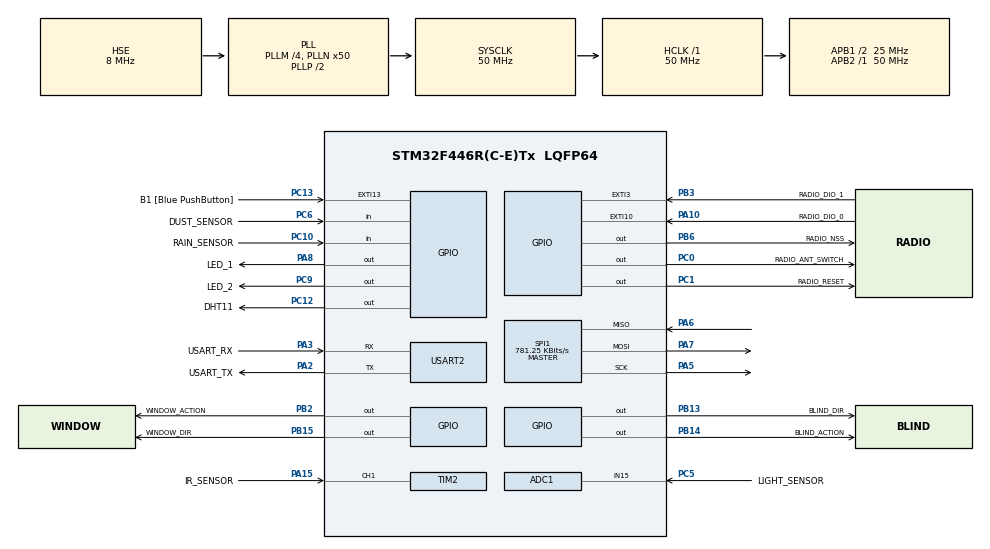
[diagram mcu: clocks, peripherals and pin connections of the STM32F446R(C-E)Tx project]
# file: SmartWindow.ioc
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ADC1.Channel-1\#ChannelRegularConversion=ADC_CHANNEL_15
ADC1.NbrOfConversionFlag=1
ADC1.Rank-1\#ChannelRegularConversion=1
ADC1.SamplingTime-1\#ChannelRegularConversion=ADC_SAMPLETIME_3CYCLES
ADC1.master=1
Mcu.Family=STM32F4
Mcu.Name=STM32F446R(C-E)Tx
Mcu.Package=LQFP64
NVIC.EXTI15_10_IRQn=true\:0\:0\:false\:false\:true\:true\:true\:true
NVIC.EXTI3_IRQn=true\:0\:0\:false\:false\:true\:true\:true\:true
NVIC.PriorityGroup=NVIC_PRIORITYGROUP_0
NVIC.RTC_Alarm_IRQn=true\:0\:0\:false\:false\:true\:true\:true\:true
NVIC.TIM2_IRQn=true\:0\:0\:false\:false\:true\:true\:true\:true
NVIC.TIM3_IRQn=true\:0\:0\:false\:false\:true\:true\:true\:true
NVIC.TIM4_IRQn=true\:0\:0\:false\:false\:true\:true\:true\:true
PA10.GPIO_Label=RADIO_DIO_0
PA10.Signal=GPXTI10
PA13.GPIO_Label=TMS
PA13.Mode=Serial_Wire
PA13.Signal=SYS_JTMS-SWDIO
PA14.GPIO_Label=TCK
PA14.Mode=Serial_Wire
PA14.Signal=SYS_JTCK-SWCLK
PA15.GPIO_Label=IR_SENSOR
PA15.Signal=S_TIM2_CH1_ETR
PA2.GPIO_Label=USART_TX
PA2.Mode=Asynchronous
PA2.Signal=USART2_TX
PA3.GPIO_Label=USART_RX
PA3.Mode=Asynchronous
PA3.Signal=USART2_RX
PA5.Mode=Full_Duplex_Master
PA5.Signal=SPI1_SCK
PA6.Mode=Full_Duplex_Master
PA6.Signal=SPI1_MISO
PA7.Mode=Full_Duplex_Master
PA7.Signal=SPI1_MOSI
PA8.GPIO_Label=LED_1
PA8.Signal=GPIO_Output
PB13.GPIO_Label=BLIND_DIR
PB13.PinState=GPIO_PIN_RESET
PB13.Signal=GPIO_Output
PB14.GPIO_Label=BLIND_ACTION
PB14.PinState=GPIO_PIN_SET
PB14.Signal=GPIO_Output
PB15.GPIO_Label=WINDOW_DIR
PB15.PinState=GPIO_PIN_SET
PB15.Signal=GPIO_Output
PB2.GPIO_Label=WINDOW_ACTION
PB2.PinState=GPIO_PIN_SET
PB2.Signal=GPIO_Output
PB3.GPIO_Label=RADIO_DIO_1 
PB3.Signal=GPXTI3
PB6.GPIO_Label=RADIO_NSS
PB6.Signal=GPIO_Output
PC0.GPIO_Label=RADIO_ANT_SWITCH
PC0.GPIO_PuPd=GPIO_PULLUP
PC0.Signal=GPIO_Output
PC1.GPIO_Label=RADIO_RESET 
PC1.PinState=GPIO_PIN_SET
PC1.Signal=GPIO_Output
PC10.GPIO_Label=RAIN_SENSOR
PC10.Signal=GPIO_Input
PC12.GPIO_Label=DHT11
PC12.Signal=GPIO_Output
PC13.GPIO_Label=B1 [Blue PushButton]
PC13.GPIO_ModeDefaultEXTI=GPIO_MODE_IT_FALLING
PC13.Signal=GPXTI13
PC14-OSC32_IN.Signal=RCC_OSC32_IN
PC15-OSC32_OUT.Signal=RCC_OSC32_OUT
PC5.GPIO_Label=LIGHT_SENSOR
PC5.Signal=ADCx_IN15
PC6.GPIO_Label=DUST_SENSOR
PC6.Signal=GPIO_Input
PC9.GPIO_Label=LED_2 
PC9.Signal=GPIO_Output
PH0-OSC_IN.Mode=HSE-External-Oscillator
PH0-OSC_IN.Signal=RCC_OSC_IN
PH1-OSC_OUT.Mode=HSE-External-Oscillator
PH1-OSC_OUT.Signal=RCC_OSC_OUT
ProjectManager.HeapSize=0x200
ProjectManager.StackSize=0x400
ProjectManager.TargetToolchain=STM32CubeIDE
RCC.48MHZClocksFreq_Value=84000000
RCC.AHBFreq_Value=50000000
RCC.APB1CLKDivider=RCC_HCLK_DIV2
RCC.APB1Freq_Value=25000000
RCC.APB1TimFreq_Value=50000000
RCC.APB2Freq_Value=50000000
RCC.APB2TimFreq_Value=50000000
RCC.CortexFreq_Value=50000000
RCC.FLatency-AdvancedSettings=FLASH_LATENCY_1
RCC.HCLKFreq_Value=50000000
RCC.HSE_VALUE=8000000
RCC.HSI_VALUE=16000000
RCC.PLLM=4
RCC.PLLN=50
RCC.PLLSourceVirtual=RCC_PLLSOURCE_HSE
RCC.SYSCLKFreq_VALUE=50000000
RCC.SYSCLKSource=RCC_SYSCLKSOURCE_PLLCLK
RCC.USBFreq_Value=50000000
RCC.VCOOutputFreq_Value=100000000
RTC.Alarm=RTC_ALARM_A
RTC.Format=RTC_FORMAT_BIN
SH.ADCx_IN15.0=ADC1_IN15,IN15
SH.S_TIM2_CH1_ETR.0=TIM2_CH1,Input_Capture1_from_TI1
SPI1.BaudRatePrescaler=SPI_BAUDRATEPRESCALER_64
SPI1.CalculateBaudRate=781.25 KBits/s
SPI1.Direction=SPI_DIRECTION_2LINES
SPI1.Mode=SPI_MODE_MASTER
SPI1.VirtualType=VM_MASTER
TIM2.Channel-Input_Capture1_from_TI1=TIM_CHANNEL_1
TIM2.ICPolarity_CH1=TIM_INPUTCHANNELPOLARITY_BOTHEDGE
TIM2.Prescaler=49
TIM3.Period=999
TIM3.Prescaler=49
TIM4.Prescaler=49
TIM6.Prescaler=49
USART2.VirtualMode=VM_ASYNC
VP_RTC_VS_RTC_Activate.Mode=RTC_Enabled
VP_RTC_VS_RTC_Alarm_A_Intern.Mode=Alarm A
VP_RTC_VS_RTC_Calendar.Mode=RTC_Calendar
VP_TIM3_VS_ClockSourceINT.Mode=Internal
VP_TIM4_VS_ClockSourceINT.Mode=Internal
VP_TIM6_VS_ClockSourceINT.Mode=Enable_Timer
board=NUCLEO-F446RE

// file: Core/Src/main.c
/* USER CODE BEGIN Header */
/**
  ******************************************************************************
  * @file           : main.c
  * @brief          : Main program body (Simplified for Always-On)
  *
  ******************************************************************************
  */
/* USER CODE END Header */
#include "main.h"

/* USER CODE BEGIN Includes */
#include <stdio.h>
#include "lora_app.h"
/* USER CODE END Includes */

/* USER CODE BEGIN PD */

// 1. 창문 모터
#define WINDOW_ACTION_PIN       GPIO_PIN_2   // PB2
#define WINDOW_ACTION_GPIO_Port GPIOB

#define WINDOW_DIR_PIN          GPIO_PIN_15  // PB15
#define WINDOW_DIR_GPIO_Port    GPIOB

// 2. 블라인드 모터
#define BLIND_ACTION_PIN        GPIO_PIN_14  // PB14
#define BLIND_ACTION_GPIO_Port  GPIOB

#define BLIND_DIR_PIN           GPIO_PIN_13  // PB13
#define BLIND_DIR_GPIO_Port     GPIOB

// 3. 센서 및 기타 핀
#define RAIN_SENSOR_PIN         GPIO_PIN_10 // PC10
#define RAIN_SENSOR_GPIO_Port   GPIOC

#define DUST_SENSOR_PIN         GPIO_PIN_6  // PC6
#define DUST_SENSOR_GPIO_Port   GPIOC

#define DHT11_PIN               GPIO_PIN_12  // PC12
#define DHT11_PORT              GPIOC

// 3. 로직 설정
#define TEMP_HOT_TO_OPEN    28
#define TEMP_COLD_TO_CLOSE  22
#define HUMI_TO_OPEN        40
#define HUMI_TO_CLOSE       25
#define LIGHT_THRESHOLD     4000
#define DUST_BAD_LEVEL      40
#define LIGHT_BRIGHT_TH 4000
#define LIGHT_DARK_TH   1000

#define SENSOR_CHECK_INTERVAL 3000
/* USER CODE END PD */

ADC_HandleTypeDef hadc1;

RTC_HandleTypeDef hrtc;

SPI_HandleTypeDef hspi1;

TIM_HandleTypeDef htim2;
TIM_HandleTypeDef htim3;
TIM_HandleTypeDef htim4;
TIM_HandleTypeDef htim6;

UART_HandleTypeDef huart2;

/* USER CODE BEGIN PV */
int auto_mode = 0;

int win_dir = 1;
int blind_dir = 0;

// --- IR 리모컨 변수 ---
typedef enum {
  IR_STATE_IDLE, IR_STATE_AGC_SPACE, IR_STATE_DATA, IR_STATE_REPEAT_PULSE
} IR_DecoderState_t;

static volatile IR_DecoderState_t ir_state = IR_STATE_IDLE;
static volatile uint32_t last_capture = 0;
static volatile uint8_t  ir_bit_count = 0;
static volatile uint32_t ir_data_raw = 0;
volatile uint8_t  ir_command = 0;
volatile uint32_t ir_full_data = 0;

// [NEW] 미세먼지 센서 변수 (TIM4 사용)
volatile uint32_t dust_start_time = 0;  // 펄스 시작 시간
volatile uint32_t dust_pulse_width = 0; // 펄스 길이 (Low 구간)
volatile uint8_t  dust_ready_flag = 0;  // 계산 완료 깃발

// --- 센서 데이터 변수 ---
int Val_Temp = 0;
int Val_Humi = 0;
int Val_Dust = 0;
int light_value = 0;
/* USER CODE END PV */

void SystemClock_Config(void);
static void MX_GPIO_Init(void);
static void MX_USART2_UART_Init(void);
static void MX_RTC_Init(void);
static void MX_TIM2_Init(void);
static void MX_TIM6_Init(void);
static void MX_SPI1_Init(void);
static void MX_TIM3_Init(void);
static void MX_TIM4_Init(void);
static void MX_ADC1_Init(void);
/* USER CODE BEGIN PFP */
void Window_Action_Open(void);
void Window_Action_Close(void);
void Window_Action_Stop(void);

void Handle_Periodic_Sensor_Task(void);

void delay_us(uint16_t us);
void Set_Pin_Output(GPIO_TypeDef *GPIOx, uint16_t GPIO_Pin);
void Set_Pin_Input(GPIO_TypeDef *GPIOx, uint16_t GPIO_Pin);
void DHT11_Start(void);
int8_t DHT11_Check_Response(void);
uint8_t DHT11_Read(void);
void Blind_Action_Up(void);
void Blind_Action_Down(void);
void Blind_Action_Stop(void);
/* USER CODE END PFP */

/* USER CODE BEGIN 0 */

int _write(int file, char *ptr, int len)
{
  HAL_UART_Transmit(&huart2, (uint8_t *)ptr, len, 10);
  return len;
}

/* USER CODE END 0 */

int main(void)
{

  /* MCU Configuration--------------------------------------------------------*/

  /* Reset of all peripherals, Initializes the Flash interface and the Systick. */
  HAL_Init();

  /* Configure the system clock */
  SystemClock_Config();

  /* Initialize all configured peripherals */
  MX_GPIO_Init();
  MX_USART2_UART_Init();
  MX_RTC_Init();
  MX_TIM2_Init();
  MX_TIM6_Init();
  MX_SPI1_Init();
  MX_TIM3_Init();
  MX_TIM4_Init();
  MX_ADC1_Init();
  /* USER CODE BEGIN 2 */
  printf("Smart Window.\r\n");

  Window_Action_Stop();

  HAL_TIM_IC_Start_IT(&htim2, TIM_CHANNEL_1); // IR
  HAL_TIM_Base_Start(&htim6);                 // Delay
  HAL_TIM_Base_Start_IT(&htim3);              // LoRa
  HAL_TIM_Base_Start(&htim4);                 // 미세먼지 타이머 켜기!

  // 3. [추가] LoRa 초기화
  LoRa_Init_User();

  uint32_t last_sensor_tick = 0;
  uint32_t current_tick;
  /* USER CODE END 2 */

  /* Infinite loop */
  /* USER CODE BEGIN WHILE */
  while (1)
  {
	  current_tick = HAL_GetTick();
	  // 1. 주기적 센서 체크 (5초마다) -> 여기에 모든 기능이 다 들어감!
	  if (current_tick - last_sensor_tick >= SENSOR_CHECK_INTERVAL)
	  {
		  last_sensor_tick = current_tick;

	  // 이 함수 하나로 측정, 계산, 전송, 제어
	      Handle_Periodic_Sensor_Task();
	  }

    /* 2. IR 리모컨 처리 */
    if (ir_command != 0)
    {
        printf("[IR] Command: 0x%02X\r\n", ir_command);
        switch (ir_command)
        {
            case 0x0C: //1
            	if(auto_mode == 1)
            	{
            		printf("Ignored: Currently Auto Mode\r\n");
            		break;
            	}
            	Window_Action_Open();
                printf("Open Window\r\n");
                break;
            case 0x18: //2
            	if(auto_mode == 1)
            	{
            		printf("Ignored: Currently Auto Mode\r\n");
            		break;
            	}
            	Window_Action_Stop();
                printf("Stop Window\r\n");
                break;
            case 0x5E: //3
            	if(auto_mode == 1)
            	{
            		printf("Ignored: Currently Auto Mode\r\n");
            		break;
            	}
            	Window_Action_Close();
            	printf("Close Window\r\n");
            	break;
            case 0x08: //4
            	if(auto_mode == 1)
            	{
            		printf("Ignored: Currently Auto Mode\r\n");
            		break;
            	}
            	Blind_Action_Up();
            	printf("Up Blind\r\n");
            	break;
            case 0x1C: //5
            	if(auto_mode == 1)
            	{
            		printf("Ignored: Currently Auto Mode\r\n");
            		break;
            	}
            	Blind_Action_Stop();
            	printf("Stop Blind\r\n");
            	break;
            case 0x5A: //6
            	if(auto_mode == 1)
            	{
            		printf("Ignored: Currently Auto Mode\r\n");
            		break;
            	}
            	Blind_Action_Down();
            	printf("Down Blind\r\n");
            	break;
            case 0x42: //7
            	auto_mode = 0;
            	printf(">> Auto Mode OFF\r\n");
            	break;
            case 0x52: //8
            	auto_mode = 1;
            	printf(">> Auto Mode ON\r\n");
            	break;
            default:
                printf("Unknown Command\r\n");
                break;
        }
        ir_command = 0;
    }

    /* 3. 루프 딜레이 */
    HAL_Delay(100); // 딜레이를 너무 길게(100ms) 주면 LoRa 수신 반응이 느려질 수 있음. 10ms 추천.

    /* USER CODE END WHILE */

  }
}

void SystemClock_Config(void)
{
  RCC_OscInitTypeDef RCC_OscInitStruct = {0};
  RCC_ClkInitTypeDef RCC_ClkInitStruct = {0};

  /** Configure the main internal regulator output voltage
  */
  __HAL_RCC_PWR_CLK_ENABLE();
  __HAL_PWR_VOLTAGESCALING_CONFIG(PWR_REGULATOR_VOLTAGE_SCALE3);

  /** Initializes the RCC Oscillators according to the specified parameters
  * in the RCC_OscInitTypeDef structure.
  */
  RCC_OscInitStruct.OscillatorType = RCC_OSCILLATORTYPE_LSI|RCC_OSCILLATORTYPE_HSE;
  RCC_OscInitStruct.HSEState = RCC_HSE_ON;
  RCC_OscInitStruct.LSEState = RCC_LSE_OFF;
  RCC_OscInitStruct.LSIState = RCC_LSI_ON;
  RCC_OscInitStruct.PLL.PLLState = RCC_PLL_ON;
  RCC_OscInitStruct.PLL.PLLSource = RCC_PLLSOURCE_HSE;
  RCC_OscInitStruct.PLL.PLLM = 4;
  RCC_OscInitStruct.PLL.PLLN = 50;
  RCC_OscInitStruct.PLL.PLLP = RCC_PLLP_DIV2;
  RCC_OscInitStruct.PLL.PLLQ = 2;
  RCC_OscInitStruct.PLL.PLLR = 2;
  if (HAL_RCC_OscConfig(&RCC_OscInitStruct) != HAL_OK)
  {
    Error_Handler();
  }

  /** Initializes the CPU, AHB and APB buses clocks
  */
  RCC_ClkInitStruct.ClockType = RCC_CLOCKTYPE_HCLK|RCC_CLOCKTYPE_SYSCLK
                              |RCC_CLOCKTYPE_PCLK1|RCC_CLOCKTYPE_PCLK2;
  RCC_ClkInitStruct.SYSCLKSource = RCC_SYSCLKSOURCE_PLLCLK;
  RCC_ClkInitStruct.AHBCLKDivider = RCC_SYSCLK_DIV1;
  RCC_ClkInitStruct.APB1CLKDivider = RCC_HCLK_DIV2;
  RCC_ClkInitStruct.APB2CLKDivider = RCC_HCLK_DIV1;

  if (HAL_RCC_ClockConfig(&RCC_ClkInitStruct, FLASH_LATENCY_1) != HAL_OK)
  {
    Error_Handler();
  }
}

static void MX_ADC1_Init(void)
{

  ADC_ChannelConfTypeDef sConfig = {0};

  /** Configure the global features of the ADC (Clock, Resolution, Data Alignment and number of conversion)
  */
  hadc1.Instance = ADC1;
  hadc1.Init.ClockPrescaler = ADC_CLOCK_SYNC_PCLK_DIV2;
  hadc1.Init.Resolution = ADC_RESOLUTION_12B;
  hadc1.Init.ScanConvMode = DISABLE;
  hadc1.Init.ContinuousConvMode = DISABLE;
  hadc1.Init.DiscontinuousConvMode = DISABLE;
  hadc1.Init.ExternalTrigConvEdge = ADC_EXTERNALTRIGCONVEDGE_NONE;
  hadc1.Init.ExternalTrigConv = ADC_SOFTWARE_START;
  hadc1.Init.DataAlign = ADC_DATAALIGN_RIGHT;
  hadc1.Init.NbrOfConversion = 1;
  hadc1.Init.DMAContinuousRequests = DISABLE;
  hadc1.Init.EOCSelection = ADC_EOC_SINGLE_CONV;
  if (HAL_ADC_Init(&hadc1) != HAL_OK)
  {
    Error_Handler();
  }

  /** Configure for the selected ADC regular channel its corresponding rank in the sequencer and its sample time.
  */
  sConfig.Channel = ADC_CHANNEL_15;
  sConfig.Rank = 1;
  sConfig.SamplingTime = ADC_SAMPLETIME_3CYCLES;
  if (HAL_ADC_ConfigChannel(&hadc1, &sConfig) != HAL_OK)
  {
    Error_Handler();
  }

}

static void MX_RTC_Init(void)
{

  RTC_TimeTypeDef sTime = {0};
  RTC_DateTypeDef sDate = {0};
  RTC_AlarmTypeDef sAlarm = {0};

  /** Initialize RTC Only
  */
  hrtc.Instance = RTC;
  hrtc.Init.HourFormat = RTC_HOURFORMAT_24;
  hrtc.Init.AsynchPrediv = 127;
  hrtc.Init.SynchPrediv = 255;
  hrtc.Init.OutPut = RTC_OUTPUT_DISABLE;
  hrtc.Init.OutPutPolarity = RTC_OUTPUT_POLARITY_HIGH;
  hrtc.Init.OutPutType = RTC_OUTPUT_TYPE_OPENDRAIN;
  if (HAL_RTC_Init(&hrtc) != HAL_OK)
  {
    Error_Handler();
  }

  /** Initialize RTC and set the Time and Date
  */
  sTime.Hours = 0;
  sTime.Minutes = 0;
  sTime.Seconds = 0;
  sTime.DayLightSaving = RTC_DAYLIGHTSAVING_NONE;
  sTime.StoreOperation = RTC_STOREOPERATION_RESET;
  if (HAL_RTC_SetTime(&hrtc, &sTime, RTC_FORMAT_BIN) != HAL_OK)
  {
    Error_Handler();
  }
  sDate.WeekDay = RTC_WEEKDAY_MONDAY;
  sDate.Month = RTC_MONTH_JANUARY;
  sDate.Date = 1;
  sDate.Year = 0;

  if (HAL_RTC_SetDate(&hrtc, &sDate, RTC_FORMAT_BIN) != HAL_OK)
  {
    Error_Handler();
  }

  /** Enable the Alarm A
  */
  sAlarm.AlarmTime.Hours = 0;
  sAlarm.AlarmTime.Minutes = 0;
  sAlarm.AlarmTime.Seconds = 0;
  sAlarm.AlarmTime.SubSeconds = 0;
  sAlarm.AlarmTime.DayLightSaving = RTC_DAYLIGHTSAVING_NONE;
  sAlarm.AlarmTime.StoreOperation = RTC_STOREOPERATION_RESET;
  sAlarm.AlarmMask = RTC_ALARMMASK_NONE;
  sAlarm.AlarmSubSecondMask = RTC_ALARMSUBSECONDMASK_ALL;
  sAlarm.AlarmDateWeekDaySel = RTC_ALARMDATEWEEKDAYSEL_DATE;
  sAlarm.AlarmDateWeekDay = 1;
  sAlarm.Alarm = RTC_ALARM_A;
  if (HAL_RTC_SetAlarm_IT(&hrtc, &sAlarm, RTC_FORMAT_BIN) != HAL_OK)
  {
    Error_Handler();
  }

}

static void MX_SPI1_Init(void)
{

  /* SPI1 parameter configuration*/
  hspi1.Instance = SPI1;
  hspi1.Init.Mode = SPI_MODE_MASTER;
  hspi1.Init.Direction = SPI_DIRECTION_2LINES;
  hspi1.Init.DataSize = SPI_DATASIZE_8BIT;
  hspi1.Init.CLKPolarity = SPI_POLARITY_LOW;
  hspi1.Init.CLKPhase = SPI_PHASE_1EDGE;
  hspi1.Init.NSS = SPI_NSS_SOFT;
  hspi1.Init.BaudRatePrescaler = SPI_BAUDRATEPRESCALER_64;
  hspi1.Init.FirstBit = SPI_FIRSTBIT_MSB;
  hspi1.Init.TIMode = SPI_TIMODE_DISABLE;
  hspi1.Init.CRCCalculation = SPI_CRCCALCULATION_DISABLE;
  hspi1.Init.CRCPolynomial = 10;
  if (HAL_SPI_Init(&hspi1) != HAL_OK)
  {
    Error_Handler();
  }

}

static void MX_TIM2_Init(void)
{

  TIM_MasterConfigTypeDef sMasterConfig = {0};
  TIM_IC_InitTypeDef sConfigIC = {0};

  htim2.Instance = TIM2;
  htim2.Init.Prescaler = 49;
  htim2.Init.CounterMode = TIM_COUNTERMODE_UP;
  htim2.Init.Period = 4294967295;
  htim2.Init.ClockDivision = TIM_CLOCKDIVISION_DIV1;
  htim2.Init.AutoReloadPreload = TIM_AUTORELOAD_PRELOAD_DISABLE;
  if (HAL_TIM_IC_Init(&htim2) != HAL_OK)
  {
    Error_Handler();
  }
  sMasterConfig.MasterOutputTrigger = TIM_TRGO_RESET;
  sMasterConfig.MasterSlaveMode = TIM_MASTERSLAVEMODE_DISABLE;
  if (HAL_TIMEx_MasterConfigSynchronization(&htim2, &sMasterConfig) != HAL_OK)
  {
    Error_Handler();
  }
  sConfigIC.ICPolarity = TIM_INPUTCHANNELPOLARITY_BOTHEDGE;
  sConfigIC.ICSelection = TIM_ICSELECTION_DIRECTTI;
  sConfigIC.ICPrescaler = TIM_ICPSC_DIV1;
  sConfigIC.ICFilter = 0;
  if (HAL_TIM_IC_ConfigChannel(&htim2, &sConfigIC, TIM_CHANNEL_1) != HAL_OK)
  {
    Error_Handler();
  }

}

static void MX_TIM3_Init(void)
{

  TIM_ClockConfigTypeDef sClockSourceConfig = {0};
  TIM_MasterConfigTypeDef sMasterConfig = {0};

  htim3.Instance = TIM3;
  htim3.Init.Prescaler = 49;
  htim3.Init.CounterMode = TIM_COUNTERMODE_UP;
  htim3.Init.Period = 999;
  htim3.Init.ClockDivision = TIM_CLOCKDIVISION_DIV1;
  htim3.Init.AutoReloadPreload = TIM_AUTORELOAD_PRELOAD_DISABLE;
  if (HAL_TIM_Base_Init(&htim3) != HAL_OK)
  {
    Error_Handler();
  }
  sClockSourceConfig.ClockSource = TIM_CLOCKSOURCE_INTERNAL;
  if (HAL_TIM_ConfigClockSource(&htim3, &sClockSourceConfig) != HAL_OK)
  {
    Error_Handler();
  }
  sMasterConfig.MasterOutputTrigger = TIM_TRGO_RESET;
  sMasterConfig.MasterSlaveMode = TIM_MASTERSLAVEMODE_DISABLE;
  if (HAL_TIMEx_MasterConfigSynchronization(&htim3, &sMasterConfig) != HAL_OK)
  {
    Error_Handler();
  }

}

static void MX_TIM4_Init(void)
{

  TIM_ClockConfigTypeDef sClockSourceConfig = {0};
  TIM_MasterConfigTypeDef sMasterConfig = {0};

  htim4.Instance = TIM4;
  htim4.Init.Prescaler = 49;
  htim4.Init.CounterMode = TIM_COUNTERMODE_UP;
  htim4.Init.Period = 65535;
  htim4.Init.ClockDivision = TIM_CLOCKDIVISION_DIV1;
  htim4.Init.AutoReloadPreload = TIM_AUTORELOAD_PRELOAD_DISABLE;
  if (HAL_TIM_Base_Init(&htim4) != HAL_OK)
  {
    Error_Handler();
  }
  sClockSourceConfig.ClockSource = TIM_CLOCKSOURCE_INTERNAL;
  if (HAL_TIM_ConfigClockSource(&htim4, &sClockSourceConfig) != HAL_OK)
  {
    Error_Handler();
  }
  sMasterConfig.MasterOutputTrigger = TIM_TRGO_RESET;
  sMasterConfig.MasterSlaveMode = TIM_MASTERSLAVEMODE_DISABLE;
  if (HAL_TIMEx_MasterConfigSynchronization(&htim4, &sMasterConfig) != HAL_OK)
  {
    Error_Handler();
  }

}

static void MX_TIM6_Init(void)
{

  TIM_MasterConfigTypeDef sMasterConfig = {0};

  htim6.Instance = TIM6;
  htim6.Init.Prescaler = 49;
  htim6.Init.CounterMode = TIM_COUNTERMODE_UP;
  htim6.Init.Period = 65535;
  htim6.Init.AutoReloadPreload = TIM_AUTORELOAD_PRELOAD_DISABLE;
  if (HAL_TIM_Base_Init(&htim6) != HAL_OK)
  {
    Error_Handler();
  }
  sMasterConfig.MasterOutputTrigger = TIM_TRGO_RESET;
  sMasterConfig.MasterSlaveMode = TIM_MASTERSLAVEMODE_DISABLE;
  if (HAL_TIMEx_MasterConfigSynchronization(&htim6, &sMasterConfig) != HAL_OK)
  {
    Error_Handler();
  }

}

static void MX_USART2_UART_Init(void)
{

  huart2.Instance = USART2;
  huart2.Init.BaudRate = 115200;
  huart2.Init.WordLength = UART_WORDLENGTH_8B;
  huart2.Init.StopBits = UART_STOPBITS_1;
  huart2.Init.Parity = UART_PARITY_NONE;
  huart2.Init.Mode = UART_MODE_TX_RX;
  huart2.Init.HwFlowCtl = UART_HWCONTROL_NONE;
  huart2.Init.OverSampling = UART_OVERSAMPLING_16;
  if (HAL_UART_Init(&huart2) != HAL_OK)
  {
    Error_Handler();
  }

}

static void MX_GPIO_Init(void)
{
  GPIO_InitTypeDef GPIO_InitStruct = {0};

  /* GPIO Ports Clock Enable */
  __HAL_RCC_GPIOC_CLK_ENABLE();
  __HAL_RCC_GPIOH_CLK_ENABLE();
  __HAL_RCC_GPIOA_CLK_ENABLE();
  __HAL_RCC_GPIOB_CLK_ENABLE();

  /*Configure GPIO pin Output Level */
  HAL_GPIO_WritePin(GPIOC, RADIO_ANT_SWITCH_Pin|LED_2_Pin|DHT11_Pin, GPIO_PIN_RESET);

  /*Configure GPIO pin Output Level */
  HAL_GPIO_WritePin(RADIO_RESET_GPIO_Port, RADIO_RESET_Pin, GPIO_PIN_SET);

  /*Configure GPIO pin Output Level */
  HAL_GPIO_WritePin(GPIOB, WINDOW_ACTION_Pin|BLIND_ACTION_Pin|WINDOW_DIR_Pin, GPIO_PIN_SET);

  /*Configure GPIO pin Output Level */
  HAL_GPIO_WritePin(GPIOB, BLIND_DIR_Pin|RADIO_NSS_Pin, GPIO_PIN_RESET);

  /*Configure GPIO pin Output Level */
  HAL_GPIO_WritePin(LED_1_GPIO_Port, LED_1_Pin, GPIO_PIN_RESET);

  /*Configure GPIO pin : B1_Pin */
  GPIO_InitStruct.Pin = B1_Pin;
  GPIO_InitStruct.Mode = GPIO_MODE_IT_FALLING;
  GPIO_InitStruct.Pull = GPIO_NOPULL;
  HAL_GPIO_Init(B1_GPIO_Port, &GPIO_InitStruct);

  /*Configure GPIO pin : RADIO_ANT_SWITCH_Pin */
  GPIO_InitStruct.Pin = RADIO_ANT_SWITCH_Pin;
  GPIO_InitStruct.Mode = GPIO_MODE_OUTPUT_PP;
  GPIO_InitStruct.Pull = GPIO_PULLUP;
  GPIO_InitStruct.Speed = GPIO_SPEED_FREQ_LOW;
  HAL_GPIO_Init(RADIO_ANT_SWITCH_GPIO_Port, &GPIO_InitStruct);

  /*Configure GPIO pins : RADIO_RESET_Pin LED_2_Pin DHT11_Pin */
  GPIO_InitStruct.Pin = RADIO_RESET_Pin|LED_2_Pin|DHT11_Pin;
  GPIO_InitStruct.Mode = GPIO_MODE_OUTPUT_PP;
  GPIO_InitStruct.Pull = GPIO_NOPULL;
  GPIO_InitStruct.Speed = GPIO_SPEED_FREQ_LOW;
  HAL_GPIO_Init(GPIOC, &GPIO_InitStruct);

  /*Configure GPIO pins : WINDOW_ACTION_Pin BLIND_DIR_Pin BLIND_ACTION_Pin WINDOW_DIR_Pin
                           RADIO_NSS_Pin */
  GPIO_InitStruct.Pin = WINDOW_ACTION_Pin|BLIND_DIR_Pin|BLIND_ACTION_Pin|WINDOW_DIR_Pin
                          |RADIO_NSS_Pin;
  GPIO_InitStruct.Mode = GPIO_MODE_OUTPUT_PP;
  GPIO_InitStruct.Pull = GPIO_NOPULL;
  GPIO_InitStruct.Speed = GPIO_SPEED_FREQ_LOW;
  HAL_GPIO_Init(GPIOB, &GPIO_InitStruct);

  /*Configure GPIO pins : DUST_SENSOR_Pin RAIN_SENSOR_Pin */
  GPIO_InitStruct.Pin = DUST_SENSOR_Pin|RAIN_SENSOR_Pin;
  GPIO_InitStruct.Mode = GPIO_MODE_INPUT;
  GPIO_InitStruct.Pull = GPIO_NOPULL;
  HAL_GPIO_Init(GPIOC, &GPIO_InitStruct);

  /*Configure GPIO pin : LED_1_Pin */
  GPIO_InitStruct.Pin = LED_1_Pin;
  GPIO_InitStruct.Mode = GPIO_MODE_OUTPUT_PP;
  GPIO_InitStruct.Pull = GPIO_NOPULL;
  GPIO_InitStruct.Speed = GPIO_SPEED_FREQ_LOW;
  HAL_GPIO_Init(LED_1_GPIO_Port, &GPIO_InitStruct);

  /*Configure GPIO pin : RADIO_DIO_0_Pin */
  GPIO_InitStruct.Pin = RADIO_DIO_0_Pin;
  GPIO_InitStruct.Mode = GPIO_MODE_IT_RISING;
  GPIO_InitStruct.Pull = GPIO_NOPULL;
  HAL_GPIO_Init(RADIO_DIO_0_GPIO_Port, &GPIO_InitStruct);

  /*Configure GPIO pin : RADIO_DIO_1_Pin */
  GPIO_InitStruct.Pin = RADIO_DIO_1_Pin;
  GPIO_InitStruct.Mode = GPIO_MODE_IT_RISING;
  GPIO_InitStruct.Pull = GPIO_NOPULL;
  HAL_GPIO_Init(RADIO_DIO_1_GPIO_Port, &GPIO_InitStruct);

  /* EXTI interrupt init*/
  HAL_NVIC_SetPriority(EXTI3_IRQn, 0, 0);
  HAL_NVIC_EnableIRQ(EXTI3_IRQn);

  HAL_NVIC_SetPriority(EXTI15_10_IRQn, 0, 0);
  HAL_NVIC_EnableIRQ(EXTI15_10_IRQn);

}

/* USER CODE BEGIN 4 */

// --- 모터 제어 함수 ---
void Window_Action_Open(void) {
    HAL_GPIO_WritePin(WINDOW_DIR_GPIO_Port, WINDOW_DIR_Pin, GPIO_PIN_RESET);//0 ->
    HAL_GPIO_WritePin(WINDOW_ACTION_GPIO_Port, WINDOW_ACTION_Pin, GPIO_PIN_RESET);
    win_dir = 0;
}
void Window_Action_Close(void) {

    HAL_GPIO_WritePin(WINDOW_DIR_GPIO_Port, WINDOW_DIR_Pin, GPIO_PIN_SET); //1 <-
    HAL_GPIO_WritePin(WINDOW_ACTION_GPIO_Port, WINDOW_ACTION_Pin, GPIO_PIN_RESET); // 0 동작
    win_dir = 1;
}
void Window_Action_Stop(void) {

    HAL_GPIO_WritePin(WINDOW_ACTION_GPIO_Port, WINDOW_ACTION_Pin,GPIO_PIN_SET); // 1 멈춤
}

void Blind_Action_Up(void) {

	HAL_GPIO_WritePin(BLIND_DIR_GPIO_Port, BLIND_DIR_Pin, GPIO_PIN_RESET);
	HAL_GPIO_WritePin(BLIND_ACTION_GPIO_Port, BLIND_ACTION_Pin, GPIO_PIN_RESET);
	blind_dir = 0;
}

void Blind_Action_Down(void) {

	HAL_GPIO_WritePin(BLIND_DIR_GPIO_Port, BLIND_DIR_Pin, GPIO_PIN_SET);
	HAL_GPIO_WritePin(BLIND_ACTION_GPIO_Port, BLIND_ACTION_Pin, GPIO_PIN_RESET);
	blind_dir = 1;
}

void Blind_Action_Stop(void) {

	HAL_GPIO_WritePin(BLIND_ACTION_GPIO_Port, BLIND_ACTION_Pin, GPIO_PIN_SET);
}

// --- DHT11 및 유틸리티 ---
void delay_us(uint16_t us) {
    __HAL_TIM_SET_COUNTER(&htim6, 0);
    while (__HAL_TIM_GET_COUNTER(&htim6) < us);
}
void Set_Pin_Output(GPIO_TypeDef *GPIOx, uint16_t GPIO_Pin) {
    GPIO_InitTypeDef GPIO_InitStruct = {0};
    GPIO_InitStruct.Pin = GPIO_Pin;
    GPIO_InitStruct.Mode = GPIO_MODE_OUTPUT_PP;
    GPIO_InitStruct.Speed = GPIO_SPEED_FREQ_LOW;
    HAL_GPIO_Init(GPIOx, &GPIO_InitStruct);
}
void Set_Pin_Input(GPIO_TypeDef *GPIOx, uint16_t GPIO_Pin) {
    GPIO_InitTypeDef GPIO_InitStruct = {0};
    GPIO_InitStruct.Pin = GPIO_Pin;
    GPIO_InitStruct.Mode = GPIO_MODE_INPUT;
    GPIO_InitStruct.Pull = GPIO_NOPULL;
    HAL_GPIO_Init(GPIOx, &GPIO_InitStruct);
}

void DHT11_Start(void) {
    Set_Pin_Output(DHT11_PORT, DHT11_PIN);
    HAL_GPIO_WritePin(DHT11_PORT, DHT11_PIN, GPIO_PIN_RESET);
    delay_us(18000);
    HAL_GPIO_WritePin(DHT11_PORT, DHT11_PIN, GPIO_PIN_SET);
    delay_us(20);
    Set_Pin_Input(DHT11_PORT, DHT11_PIN);
}

int8_t DHT11_Check_Response(void) {
    int8_t response = 0;
    delay_us(40);
    if (!(HAL_GPIO_ReadPin(DHT11_PORT, DHT11_PIN))) {
        delay_us(80);
        if ((HAL_GPIO_ReadPin(DHT11_PORT, DHT11_PIN))) response = 1;
        else response = -1;
    }
    uint32_t timeout = 0;
    while ((HAL_GPIO_ReadPin(DHT11_PORT, DHT11_PIN))) {
        timeout++;
        if(timeout > 10000) return -1;
    }
    return response;
}

uint8_t DHT11_Read(void) {
    uint8_t i = 0, j;
    for (j = 0; j < 8; j++) {
        uint32_t timeout = 0;
        while (!(HAL_GPIO_ReadPin(DHT11_PORT, DHT11_PIN))) {
             if(timeout++ > 10000) return 0;
        }
        delay_us(40);
        if (!(HAL_GPIO_ReadPin(DHT11_PORT, DHT11_PIN))) {
            i &= ~(1 << (7 - j));
        }
        else {
            i |= (1 << (7 - j));
            timeout = 0;
            while ((HAL_GPIO_ReadPin(DHT11_PORT, DHT11_PIN))) {
                 if(timeout++ > 10000) return 0;
            }
        }
    }
    return i;
}

// [NEW] 미세먼지 펄스 길이를 직접 재는 함수 (인터럽트 X)
// 핀이 Low인 시간을 마이크로초(us) 단위로 반환
uint32_t Measure_Dust_Pulse_Blocking(void) {
    uint32_t timeout = 0;

    // 1. 현재 신호가 Low라면 High가 될 때까지 기다림 (측정 시작점 맞추기)
    while (HAL_GPIO_ReadPin(DUST_SENSOR_GPIO_Port, DUST_SENSOR_Pin) == GPIO_PIN_RESET) {
        if (timeout++ > 100000) return 0; // 너무 오래 걸리면 탈출 (에러 방지)
    }

    // 2. 신호가 Low로 떨어질 때까지 대기 (펄스 시작!)
    timeout = 0;
    while (HAL_GPIO_ReadPin(DUST_SENSOR_GPIO_Port, DUST_SENSOR_Pin) == GPIO_PIN_SET) {
        if (timeout++ > 100000) return 0;
    }

    // 3. Low 구간 시간 측정 시작 (타이머4 사용)
    __HAL_TIM_SET_COUNTER(&htim4, 0); // 타이머 0으로 초기화

    // 4. 신호가 다시 High로 올라갈 때까지 대기 (펄스 끝!)
    while (HAL_GPIO_ReadPin(DUST_SENSOR_GPIO_Port, DUST_SENSOR_Pin) == GPIO_PIN_RESET) {
        // 기다리는 중...
        if (__HAL_TIM_GET_COUNTER(&htim4) > 60000) break; // 너무 길면 탈출
    }

    // 5. 측정된 시간 반환
    return __HAL_TIM_GET_COUNTER(&htim4);
}

// --- 태스크 처리 함수 ---

void Handle_Periodic_Sensor_Task(void)
{

    // ==========================================================
    // 1. DHT11 온습도 읽기 (체크섬 확인 포함)
    // ==========================================================
    DHT11_Start();
    if (DHT11_Check_Response() == 1) {
        uint8_t rh_i = DHT11_Read(); // 습도 정수
        uint8_t rh_d = DHT11_Read(); // 습도 소수 (무시)
        uint8_t t_i  = DHT11_Read(); // 온도 정수
        uint8_t t_d  = DHT11_Read(); // 온도 소수 (무시)
        uint8_t sum  = DHT11_Read();

        // 데이터 무결성 검사
        if (sum == (rh_i + rh_d + t_i + t_d)) {
            Val_Humi = rh_i; // 전역 변수 업데이트
            Val_Temp = t_i;  // 전역 변수 업데이트
        } else {
             printf("  [Error] DHT11 Checksum Fail\r\n");
        }
    } else {
        printf("  [Error] DHT11 Not Responding\r\n");
    }

    // ==========================================================
    // 2. 미세먼지 측정
    // ==========================================================

    uint32_t measured_pulse = 0;

    if (HAL_GPIO_ReadPin(DUST_SENSOR_GPIO_Port, DUST_SENSOR_Pin) == GPIO_PIN_RESET)
    {
         __HAL_TIM_SET_COUNTER(&htim4, 0); // 스톱워치 0으로 리셋
         // 다시 High가 될 때까지 대기 (먼지 측정 중...)
         while (HAL_GPIO_ReadPin(DUST_SENSOR_GPIO_Port, DUST_SENSOR_Pin) == GPIO_PIN_RESET)
         {
             // 안전장치: 너무 오래 걸리면(약 65ms 이상) 탈출
             if (__HAL_TIM_GET_COUNTER(&htim4) > 60000)
             {
                 break;
             }
         }
         measured_pulse = __HAL_TIM_GET_COUNTER(&htim4);
    }
    else
    {
        // 핀이 High 상태라면 지금은 먼지가 감지되지 않는 구간임 -> 0 처리
        measured_pulse = 0;
    }

    // (C) 값 변환 (이 부분이 함수 밖으로 쫓겨나 있었음! 이제 안으로 들어옴)
    if (measured_pulse > 1400)
    {
        Val_Dust = (measured_pulse - 1400) / 14;
    }
    else
    {
        Val_Dust = 0;
    }

    // 조도 센서

    HAL_ADC_Start(&hadc1);
    if (HAL_ADC_PollForConversion(&hadc1, 100) == HAL_OK) light_value = HAL_ADC_GetValue(&hadc1);
    HAL_ADC_Stop(&hadc1);

    // 3. 통합 데이터 출력 (정수만 출력)
    printf("  >> T:%d, H:%d | Dust: %d ug/m3 Light: %d \r\n", Val_Temp, Val_Humi, Val_Dust, light_value);

    // 4. LoRa 전송 (정수 데이터만 전송)
    // lora_app.c 함수가 인자 7개를 요구하므로, 소수점 자리에 0을 채워 보냅니다.
    int rain_st = (HAL_GPIO_ReadPin(RAIN_SENSOR_GPIO_Port, RAIN_SENSOR_PIN) == GPIO_PIN_RESET) ? 1 : 0;

    // [Temp, 0, Humi, 0, Dust, 0, Rain] 순서

    LoRa_Send_SensorData(Val_Temp, Val_Humi, Val_Dust, rain_st, light_value, win_dir, blind_dir);

    // ==========================================================
    // 5. 자동 제어 로직
    // ==========================================================

	if (auto_mode == 1)
	{

		// 비
	    if (rain_st == 1)
	    {
	        printf("Rain detected! Close.\r\n");
	        Window_Action_Close();
	    }

	    // 미세먼지
	    else if (Val_Dust > DUST_BAD_LEVEL)
	    {
	        printf("Bad Dust! Open.\r\n");
	        Window_Action_Open();
	    }

	    // 습도
	    else if (Val_Humi > HUMI_TO_OPEN)
	    {
	        printf("Humid! Open.\r\n");
	        Window_Action_Open();
	    }
	    else if (Val_Humi < HUMI_TO_CLOSE)
	    {
	        printf("Dry! Close.\r\n");
	        Window_Action_Close();
	    }

	    // 온도
	    else if (Val_Temp > TEMP_HOT_TO_OPEN)
	    {
	        printf("Hot! Open.\r\n");
	        Window_Action_Open();
	    }
	    else if (Val_Temp < TEMP_COLD_TO_CLOSE)
	    {
	        printf("Cold! Close.\r\n");
	        Window_Action_Close();
	    }

		// 블라인드
		if (light_value > LIGHT_BRIGHT_TH) {
			printf("   => Too Bright! Blind down.\r\n");
			Blind_Action_Down();
		}
		else if (light_value < LIGHT_DARK_TH) {
			printf("   => Too Dark! Blind up.\r\n");
			Blind_Action_Up();
		}
	}
}

// --- 인터럽트 콜백 ---

void HAL_GPIO_EXTI_Callback(uint16_t GPIO_Pin)
{
    if (GPIO_Pin == RADIO_DIO_0_Pin && DIO0_IrqHandler != NULL) {
    	DIO0_IrqHandler(DIO0_Context);
    }
    else if (GPIO_Pin == RADIO_DIO_1_Pin && DIO1_IrqHandler != NULL) {
    	DIO1_IrqHandler(DIO1_Context);
    }
}

void HAL_TIM_IC_CaptureCallback(TIM_HandleTypeDef *htim)
{
  if (htim->Instance != TIM2) return;
  uint32_t current_capture = HAL_TIM_ReadCapturedValue(htim, TIM_CHANNEL_1);
  uint32_t pulse_width_us = (uint32_t)(current_capture - last_capture);
  last_capture = current_capture;

  if (pulse_width_us > 15000) { ir_state = IR_STATE_IDLE; return; }

  switch (ir_state) {
    case IR_STATE_IDLE:
      if (pulse_width_us > 10000 && pulse_width_us < 11500) ir_state = IR_STATE_AGC_SPACE;
      break;
    case IR_STATE_AGC_SPACE:
      if (pulse_width_us > 4000 && pulse_width_us < 5000) {
        ir_state = IR_STATE_DATA; ir_data_raw = 0; ir_bit_count = 0;
      } else if (pulse_width_us > 2000 && pulse_width_us < 2500) {
        ir_state = IR_STATE_REPEAT_PULSE;
      } else { ir_state = IR_STATE_IDLE; }
      break;
    case IR_STATE_REPEAT_PULSE: ir_state = IR_STATE_IDLE; break;
    case IR_STATE_DATA:
      if (ir_bit_count % 2 == 1) {
        uint8_t idx = ir_bit_count / 2;
        if (pulse_width_us > 1500) ir_data_raw |= (1UL << idx);
      }
      ir_bit_count++;
      if (ir_bit_count == 64) {
        ir_full_data = ir_data_raw;
        uint8_t addr = (ir_full_data >> 0) & 0xFF;
        uint8_t not_addr = (ir_full_data >> 8) & 0xFF;
        uint8_t cmd = (ir_full_data >> 16) & 0xFF;
        uint8_t not_cmd = (ir_full_data >> 24) & 0xFF;

        if (addr == (uint8_t)~not_addr && cmd == (uint8_t)~not_cmd) {
            ir_command = cmd;
        }
        ir_state = IR_STATE_IDLE;
      }
      break;
  }
}

// [LoRa] 타이머 인터럽트 핸들러 연결 (TIM3 사용)
// 이 함수가 없으면 LoRa 내부 시간이 안 가서 통신이 멈춤
extern void TimerIrqHandler(void); // 드라이버 함수 가져오기

void HAL_TIM_PeriodElapsedCallback(TIM_HandleTypeDef *htim)
{
    // TIM3가 1ms마다 울릴 때만 실행
    if (htim->Instance == TIM3) {
        TimerIrqHandler();
    }
}

/* USER CODE END 4 */

void Error_Handler(void)
{
  __disable_irq();
  while (1)
  {
  }
}
